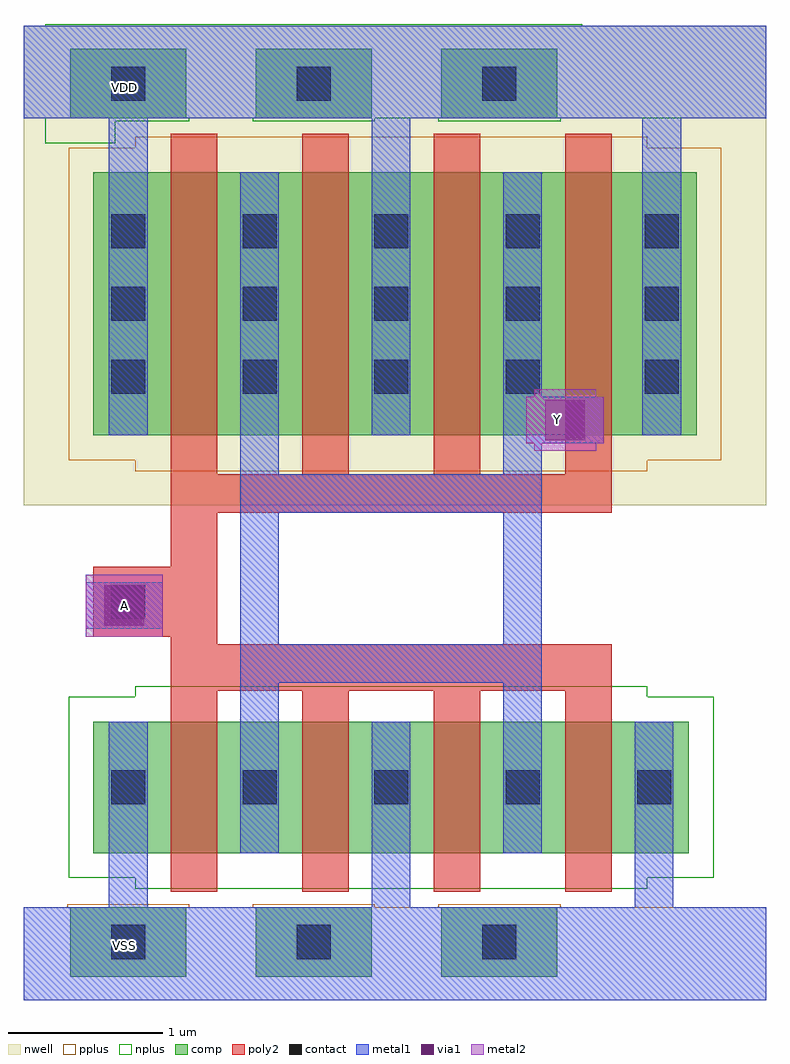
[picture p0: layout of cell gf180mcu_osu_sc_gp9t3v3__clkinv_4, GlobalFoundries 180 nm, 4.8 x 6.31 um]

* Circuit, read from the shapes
.subckt gf180mcu_osu_sc_gp9t3v3__clkinv_4 A VDD VSS Y
XM1 Y A VSS VSS nfet_03v3 w=0.85u l=0.3u m=4
XM2 Y A VDD VDD pfet_03v3 w=1.7u l=0.3u m=4
.ends

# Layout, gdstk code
import gdstk
lib = gdstk.Library(unit=1e-6, precision=1e-09)
def R(c, l, rs):  # rectangles x0, y0, x1, y1
    for r in rs: c.add(gdstk.rectangle(r[:2], r[2:], *l))
def A(c, l, x, y, w, h, nx, ny, dx, dy):  # array of equal rectangles
    R(c, l, [(x+i*dx, y+j*dy, x+i*dx+w, y+j*dy+h) for i in range(nx) for j in range(ny)])
nwell = (21, 0)
comp = (22, 0)
poly2 = (30, 0)
pplus = (31, 0)
nplus = (32, 0)
contact = (33, 0)
metal1 = (34, 0)
via1 = (35, 0)
metal2 = (36, 0)

gf180mcu_osu_sc_gp9t3v3_ = lib.new_cell('gf180mcu_osu_sc_gp9t3v3__clkinv_4')
R(gf180mcu_osu_sc_gp9t3v3_, nwell, [(0,3.2,4.8,6.3)])
A(gf180mcu_osu_sc_gp9t3v3_, comp, 0.3, 0.15, 0.75, 0.45, 3, 2, 1.2, 5.55)
R(gf180mcu_osu_sc_gp9t3v3_, comp, [(0.45,0.95,4.3,1.8), (0.45,3.65,4.35,5.35)])
A(gf180mcu_osu_sc_gp9t3v3_, poly2, 0.95, 0.7, 0.3, 1.3, 4, 1, 0.85, 0)
A(gf180mcu_osu_sc_gp9t3v3_, poly2, 0.95, 3.4, 0.3, 2.2, 4, 1, 0.85, 0)
R(gf180mcu_osu_sc_gp9t3v3_, poly2, [(0.95,2,3.8,2.3), (0.95,2.3,1.25,2.35), (0.45,2.35,1.25,2.8), (0.95,2.8,1.25,3.15), (0.95,3.15,3.8,3.4)])
A(gf180mcu_osu_sc_gp9t3v3_, pplus, 0.28, 0.13, 0.79, 0.49, 3, 1, 1.2, 0)
R(gf180mcu_osu_sc_gp9t3v3_, pplus, [(0,0,4.8,0.6), (0.72,3.42,4.03,3.49), (0.29,3.49,4.51,5.51), (0.72,5.51,4.03,5.58)])
R(gf180mcu_osu_sc_gp9t3v3_, nplus, [(0.72,0.72,4.03,0.79), (0.29,0.79,4.46,1.96), (0.72,1.96,4.03,2.03), (0.14,5.54,0.59,5.68), (0.14,5.68,1.07,5.7), (1.48,5.68,2.27,5.7), (2.68,5.68,3.47,5.7), (0,5.7,4.8,6.3), (0,5.7,4.8,6.3), (0.14,6.3,3.61,6.31)])
A(gf180mcu_osu_sc_gp9t3v3_, contact, 0.565, 0.265, 0.22, 0.22, 3, 2, 1.2, 5.55)
A(gf180mcu_osu_sc_gp9t3v3_, contact, 0.565, 1.265, 0.22, 0.22, 5, 1, 0.85, 0)
A(gf180mcu_osu_sc_gp9t3v3_, contact, 0.565, 3.92, 0.22, 0.22, 4, 3, 0.85, 0.47)
A(gf180mcu_osu_sc_gp9t3v3_, contact, 4.015, 3.92, 0.22, 0.22, 1, 3, 0, 0.47)
R(gf180mcu_osu_sc_gp9t3v3_, contact, [(0.565,2.465,0.785,2.685)])
A(gf180mcu_osu_sc_gp9t3v3_, metal1, 0.55, 0.6, 0.25, 1.2, 3, 1, 1.7, 0)
R(gf180mcu_osu_sc_gp9t3v3_, metal1, [(0,0,4.8,0.6), (1.4,0.95,1.65,2.05), (3.1,0.95,3.35,2.05), (1.4,2.05,3.35,2.3), (1.4,2.3,1.65,3.15), (3.1,2.3,3.35,3.15), (0.4,2.4,0.9,2.7), (1.4,3.15,3.35,3.4), (1.4,3.4,1.65,5.35), (3.1,3.4,3.35,3.6), (3.1,3.6,3.75,3.9), (0.55,3.65,0.8,5.7), (2.25,3.65,2.5,5.7), (4,3.65,4.25,5.7), (3.1,3.9,3.35,5.35), (0,5.7,4.8,6.3)])
R(gf180mcu_osu_sc_gp9t3v3_, via1, [(0.52,2.42,0.78,2.68), (3.37,3.62,3.63,3.88)])
R(gf180mcu_osu_sc_gp9t3v3_, metal2, [(0.4,2.35,0.9,2.75), (3.3,3.55,3.7,3.6), (3.25,3.6,3.75,3.9), (3.3,3.9,3.7,3.95)])
gf180mcu_osu_sc_gp9t3v3_.add(gdstk.Label('A', (0.65,2.55), layer=36, texttype=10))
gf180mcu_osu_sc_gp9t3v3_.add(gdstk.Label('Y', (3.45,3.75), layer=36, texttype=10))
gf180mcu_osu_sc_gp9t3v3_.add(gdstk.Label('VDD', (0.65,5.9), layer=22, texttype=0))
gf180mcu_osu_sc_gp9t3v3_.add(gdstk.Label('VSS', (0.65,0.35), layer=22, texttype=0))

lib.write_gds('gf180mcu_osu_sc_gp9t3v3__clkinv_4.gds')
